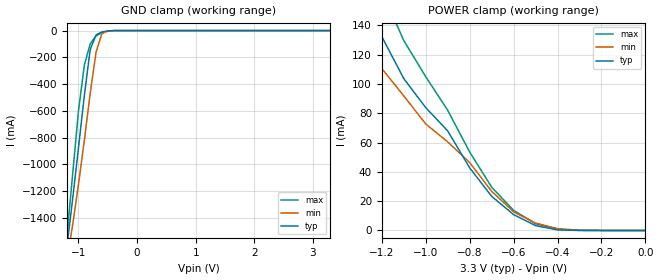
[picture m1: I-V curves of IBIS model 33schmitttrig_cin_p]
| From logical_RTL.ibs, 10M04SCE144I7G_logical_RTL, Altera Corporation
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|MODEL 33schmitttrig_cin_p
[Model]   33schmitttrig_cin_p
Model_type   Input
Polarity   Non-Inverting
Vinl   = 0.800
Vinh   = 1.700
C_comp 4.5pF   4.5pF   4.5pF
[Model Spec]
Vinh   1.700   1.700   1.700
Vinl   0.800   0.800   0.800
[Temperature Range]   25   100   -40
[Voltage Range]   3.300   3.085   3.465
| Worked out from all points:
|   GND clamp passes 1 mA (typ) near -0.44 V on its own axis
|   POWER clamp passes 1 mA (typ) near -0.42 V on its own axis
[GND Clamp]
| voltage   I (typ)   I (min)   I (max)
-3.3V     -8.634A    -7.641A    -10.53A
-1.2V     -1.626A    -1.726A    -1.552A
-1.1V     -1.26A     -1.452A    -1.075A
-1V       -875.9mA   -1.149A    -598.7mA
-900mV    -483.9mA   -819.2mA   -258.1mA
-800mV    -141.1mA   -469.2mA   -98.68mA
-700mV    -32.06mA   -161mA     -39.97mA
-600mV    -10.6mA    -22.19mA   -15.19mA
-500mV    -2.181mA   -3.852mA   -3.947mA
3.3V      0A         0A         0A
[Power Clamp]
| voltage   I (typ)   I (min)   I (max)
-3.3V     557.2mA    469.8mA    699mA
-1.4V     165.1mA    141.5mA    205mA
-1.2V     132.2mA    110.4mA    163.1mA
-1.1V     103.6mA    91.81mA    129.5mA
-1V       83.77mA    72.62mA    104.9mA
-900mV    67.9mA     60.41mA    81.96mA
-800mV    42.69mA    46.31mA    53.48mA
-700mV    23.3mA     26.7mA     29.53mA
-600mV    10.8mA     12.72mA    13.7mA
-500mV    3.298mA    5.021mA    4.567mA
-400mV    388.6uA    1.236mA    871.9uA
0V        0A         0A         0A
